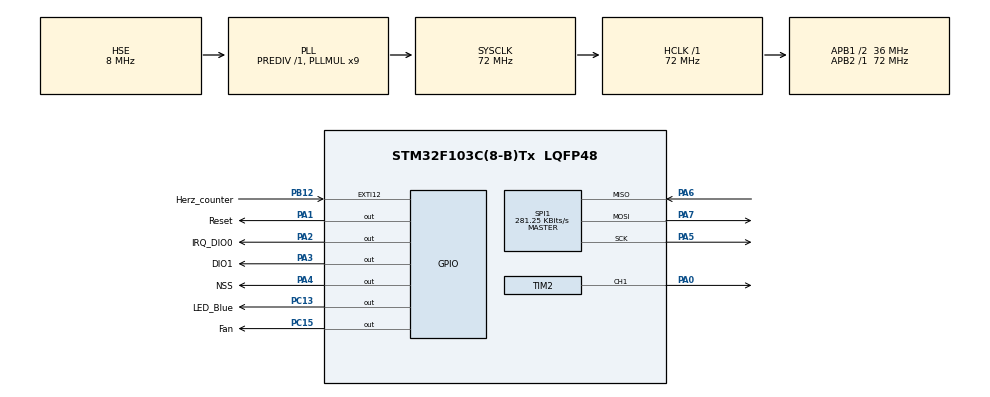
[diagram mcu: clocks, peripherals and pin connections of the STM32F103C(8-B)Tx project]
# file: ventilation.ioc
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FREERTOS.Tasks01=LoRa,1,180,StartLoRa,Default,NULL,Dynamic,NULL,NULL;Fan,0,128,StartTaskFan,Default,NULL,Dynamic,NULL,NULL;mcuWork,0,128,StartMcuWork,Default,NULL,Dynamic,NULL,NULL
Mcu.Family=STM32F1
Mcu.Name=STM32F103C(8-B)Tx
Mcu.Package=LQFP48
NVIC.EXTI15_10_IRQn=true\:5\:0\:true\:false\:true\:true\:true
NVIC.PriorityGroup=NVIC_PRIORITYGROUP_4
NVIC.SPI1_IRQn=true\:5\:0\:false\:false\:true\:true\:true
NVIC.TIM1_UP_IRQn=true\:0\:0\:false\:false\:true\:false\:false
NVIC.TIM2_IRQn=true\:5\:0\:true\:false\:true\:true\:true
NVIC.TimeBase=TIM1_UP_IRQn
NVIC.TimeBaseIP=TIM1
PA0-WKUP.Signal=S_TIM2_CH1_ETR
PA1.GPIO_Label=Reset
PA1.Signal=GPIO_Output
PA13.Mode=Serial_Wire
PA13.Signal=SYS_JTMS-SWDIO
PA14.Mode=Serial_Wire
PA14.Signal=SYS_JTCK-SWCLK
PA2.GPIO_Label=IRQ_DIO0
PA2.Signal=GPIO_Output
PA3.GPIO_Label=DIO1
PA3.Signal=GPIO_Output
PA4.GPIO_Label=NSS
PA4.Signal=GPIO_Output
PA5.Mode=Full_Duplex_Master
PA5.Signal=SPI1_SCK
PA6.Mode=Full_Duplex_Master
PA6.Signal=SPI1_MISO
PA7.Mode=Full_Duplex_Master
PA7.Signal=SPI1_MOSI
PB12.GPIO_Label=Herz_counter
PB12.GPIO_ModeDefaultEXTI=GPIO_MODE_IT_RISING_FALLING
PB12.Signal=GPXTI12
PC13-TAMPER-RTC.GPIO_Label=LED_Blue
PC13-TAMPER-RTC.Signal=GPIO_Output
PC15-OSC32_OUT.GPIO_Label=Fan
PC15-OSC32_OUT.Signal=GPIO_Output
PD0-OSC_IN.Mode=HSE-External-Oscillator
PD0-OSC_IN.Signal=RCC_OSC_IN
PD1-OSC_OUT.Mode=HSE-External-Oscillator
PD1-OSC_OUT.Signal=RCC_OSC_OUT
ProjectManager.HeapSize=0x200
ProjectManager.StackSize=0x400
ProjectManager.TargetToolchain=EWARM V7
RCC.AHBFreq_Value=72000000
RCC.APB1CLKDivider=RCC_HCLK_DIV2
RCC.APB1Freq_Value=36000000
RCC.APB1TimFreq_Value=72000000
RCC.APB2Freq_Value=72000000
RCC.APB2TimFreq_Value=72000000
RCC.HCLKFreq_Value=72000000
RCC.PLLMUL=RCC_PLL_MUL9
RCC.PLLSourceVirtual=RCC_PLLSOURCE_HSE
RCC.SYSCLKFreq_VALUE=72000000
RCC.SYSCLKSource=RCC_SYSCLKSOURCE_PLLCLK
RCC.USBFreq_Value=72000000
SH.S_TIM2_CH1_ETR.0=TIM2_CH1,PWM Generation1 CH1
SPI1.BaudRatePrescaler=SPI_BAUDRATEPRESCALER_256
SPI1.CalculateBaudRate=281.25 KBits/s
SPI1.Direction=SPI_DIRECTION_2LINES
SPI1.Mode=SPI_MODE_MASTER
SPI1.VirtualType=VM_MASTER
TIM2.Channel-PWM\ Generation1\ CH1=TIM_CHANNEL_1
VP_FREERTOS_VS_ENABLE.Mode=Enabled
VP_SYS_VS_tim1.Mode=TIM1
VP_TIM2_VS_ClockSourceINT.Mode=Internal
VP_TIM2_VS_OPM.Mode=OPM_bit
board=custom

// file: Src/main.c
/* USER CODE BEGIN Header */
/**
  ******************************************************************************
  * @file           : main.c
  * @brief          : Main program body
  ******************************************************************************
  * This notice applies to any and all portions of this file
  * that are not between comment pairs USER CODE BEGIN and
  * USER CODE END. Other portions of this file, whether
  * inserted by the user or by software development tools
  * are owned by their respective copyright owners.
  *
  * Copyright (c) 2019 STMicroelectronics International N.V.
  * All rights reserved.
  *
  * Redistribution and use in source and binary forms, with or without
  * modification, are permitted, provided that the following conditions are met:
  *
  * 1. Redistribution of source code must retain the above copyright notice,
  *    this list of conditions and the following disclaimer.
  * 2. Redistributions in binary form must reproduce the above copyright notice,
  *    this list of conditions and the following disclaimer in the documentation
  *    and/or other materials provided with the distribution.
  * 3. Neither the name of STMicroelectronics nor the names of other
  *    contributors to this software may be used to endorse or promote products
  *    derived from this software without specific written permission.
  * 4. This software, including modifications and/or derivative works of this
  *    software, must execute solely and exclusively on microcontroller or
  *    microprocessor devices manufactured by or for STMicroelectronics.
  * 5. Redistribution and use of this software other than as permitted under
  *    this license is void and will automatically terminate your rights under
  *    this license.
  *
  * THIS SOFTWARE IS PROVIDED BY STMICROELECTRONICS AND CONTRIBUTORS "AS IS"
  * AND ANY EXPRESS, IMPLIED OR STATUTORY WARRANTIES, INCLUDING, BUT NOT
  * LIMITED TO, THE IMPLIED WARRANTIES OF MERCHANTABILITY, FITNESS FOR A
  * PARTICULAR PURPOSE AND NON-INFRINGEMENT OF THIRD PARTY INTELLECTUAL PROPERTY
  * RIGHTS ARE DISCLAIMED TO THE FULLEST EXTENT PERMITTED BY LAW. IN NO EVENT
  * SHALL STMICROELECTRONICS OR CONTRIBUTORS BE LIABLE FOR ANY DIRECT, INDIRECT,
  * INCIDENTAL, SPECIAL, EXEMPLARY, OR CONSEQUENTIAL DAMAGES (INCLUDING, BUT NOT
  * LIMITED TO, PROCUREMENT OF SUBSTITUTE GOODS OR SERVICES; LOSS OF USE, DATA,
  * OR PROFITS; OR BUSINESS INTERRUPTION) HOWEVER CAUSED AND ON ANY THEORY OF
  * LIABILITY, WHETHER IN CONTRACT, STRICT LIABILITY, OR TORT (INCLUDING
  * NEGLIGENCE OR OTHERWISE) ARISING IN ANY WAY OUT OF THE USE OF THIS SOFTWARE,
  * EVEN IF ADVISED OF THE POSSIBILITY OF SUCH DAMAGE.
  *
  ******************************************************************************
  */
/* USER CODE END Header */

#include "main.h"
#include "cmsis_os.h"
#include "spi.h"
#include "tim.h"
#include "gpio.h"

void SystemClock_Config(void);
void MX_FREERTOS_Init(void);

int main(void)
{

  /* MCU Configuration--------------------------------------------------------*/

  /* Reset of all peripherals, Initializes the Flash interface and the Systick. */
  HAL_Init();

  /* Configure the system clock */
  SystemClock_Config();

  /* Initialize all configured peripherals */
  MX_GPIO_Init();
  MX_SPI1_Init();
  MX_TIM2_Init();

  /* Call init function for freertos objects (in freertos.c) */
  MX_FREERTOS_Init();

  /* Start scheduler */
  osKernelStart();

  /* We should never get here as control is now taken by the scheduler */

  /* Infinite loop */
  while (1)
  {

  }
}

void SystemClock_Config(void)
{
  RCC_OscInitTypeDef RCC_OscInitStruct = {0};
  RCC_ClkInitTypeDef RCC_ClkInitStruct = {0};

  /**Initializes the CPU, AHB and APB busses clocks
  */
  RCC_OscInitStruct.OscillatorType = RCC_OSCILLATORTYPE_HSE;
  RCC_OscInitStruct.HSEState = RCC_HSE_ON;
  RCC_OscInitStruct.HSEPredivValue = RCC_HSE_PREDIV_DIV1;
  RCC_OscInitStruct.HSIState = RCC_HSI_ON;
  RCC_OscInitStruct.PLL.PLLState = RCC_PLL_ON;
  RCC_OscInitStruct.PLL.PLLSource = RCC_PLLSOURCE_HSE;
  RCC_OscInitStruct.PLL.PLLMUL = RCC_PLL_MUL9;
  if (HAL_RCC_OscConfig(&RCC_OscInitStruct) != HAL_OK)
  {
    Error_Handler();
  }
  /**Initializes the CPU, AHB and APB busses clocks
  */
  RCC_ClkInitStruct.ClockType = RCC_CLOCKTYPE_HCLK|RCC_CLOCKTYPE_SYSCLK
                              |RCC_CLOCKTYPE_PCLK1|RCC_CLOCKTYPE_PCLK2;
  RCC_ClkInitStruct.SYSCLKSource = RCC_SYSCLKSOURCE_PLLCLK;
  RCC_ClkInitStruct.AHBCLKDivider = RCC_SYSCLK_DIV1;
  RCC_ClkInitStruct.APB1CLKDivider = RCC_HCLK_DIV2;
  RCC_ClkInitStruct.APB2CLKDivider = RCC_HCLK_DIV1;

  if (HAL_RCC_ClockConfig(&RCC_ClkInitStruct, FLASH_LATENCY_2) != HAL_OK)
  {
    Error_Handler();
  }
}

void HAL_TIM_PeriodElapsedCallback(TIM_HandleTypeDef *htim)
{
  if (htim->Instance == TIM1) {
    HAL_IncTick();
  }
}

void Error_Handler(void)
{
}

/************************ (C) COPYRIGHT STMicroelectronics *****END OF FILE****/

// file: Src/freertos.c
/* USER CODE BEGIN Header */
/**
  ******************************************************************************
  * File Name          : freertos.c
  * Description        : Code for freertos applications
  ******************************************************************************
  * This notice applies to any and all portions of this file
  * that are not between comment pairs USER CODE BEGIN and
  * USER CODE END. Other portions of this file, whether
  * inserted by the user or by software development tools
  * are owned by their respective copyright owners.
  *
  * Copyright (c) 2019 STMicroelectronics International N.V.
  * All rights reserved.
  *
  * Redistribution and use in source and binary forms, with or without
  * modification, are permitted, provided that the following conditions are met:
  *
  * 1. Redistribution of source code must retain the above copyright notice,
  *    this list of conditions and the following disclaimer.
  * 2. Redistributions in binary form must reproduce the above copyright notice,
  *    this list of conditions and the following disclaimer in the documentation
  *    and/or other materials provided with the distribution.
  * 3. Neither the name of STMicroelectronics nor the names of other
  *    contributors to this software may be used to endorse or promote products
  *    derived from this software without specific written permission.
  * 4. This software, including modifications and/or derivative works of this
  *    software, must execute solely and exclusively on microcontroller or
  *    microprocessor devices manufactured by or for STMicroelectronics.
  * 5. Redistribution and use of this software other than as permitted under
  *    this license is void and will automatically terminate your rights under
  *    this license.
  *
  * THIS SOFTWARE IS PROVIDED BY STMICROELECTRONICS AND CONTRIBUTORS "AS IS"
  * AND ANY EXPRESS, IMPLIED OR STATUTORY WARRANTIES, INCLUDING, BUT NOT
  * LIMITED TO, THE IMPLIED WARRANTIES OF MERCHANTABILITY, FITNESS FOR A
  * PARTICULAR PURPOSE AND NON-INFRINGEMENT OF THIRD PARTY INTELLECTUAL PROPERTY
  * RIGHTS ARE DISCLAIMED TO THE FULLEST EXTENT PERMITTED BY LAW. IN NO EVENT
  * SHALL STMICROELECTRONICS OR CONTRIBUTORS BE LIABLE FOR ANY DIRECT, INDIRECT,
  * INCIDENTAL, SPECIAL, EXEMPLARY, OR CONSEQUENTIAL DAMAGES (INCLUDING, BUT NOT
  * LIMITED TO, PROCUREMENT OF SUBSTITUTE GOODS OR SERVICES; LOSS OF USE, DATA,
  * OR PROFITS; OR BUSINESS INTERRUPTION) HOWEVER CAUSED AND ON ANY THEORY OF
  * LIABILITY, WHETHER IN CONTRACT, STRICT LIABILITY, OR TORT (INCLUDING
  * NEGLIGENCE OR OTHERWISE) ARISING IN ANY WAY OUT OF THE USE OF THIS SOFTWARE,
  * EVEN IF ADVISED OF THE POSSIBILITY OF SUCH DAMAGE.
  *
  ******************************************************************************
  */
/* USER CODE END Header */

#include "FreeRTOS.h"
#include "task.h"
#include "main.h"
#include "cmsis_os.h"

/* USER CODE BEGIN Includes */
#include "spi.h"
#include "gpio.h"
#include "SX1278.h"
/* USER CODE END Includes */

/* USER CODE BEGIN Variables */
#if defined DEBUG || defined RELEASE
static xQueueHandle SpeedQueue_handle = NULL;
#endif
/* USER CODE END Variables */
osThreadId LoRaHandle;
osThreadId FanHandle;
osThreadId mcuWorkHandle;

void StartLoRa(void const * argument);
void StartTaskFan(void const * argument);
void StartMcuWork(void const * argument);

void MX_FREERTOS_Init(void); /* (MISRA C 2004 rule 8.1) */

void MX_FREERTOS_Init(void) {

  /* Create the thread(s) */
  /* definition and creation of LoRa */
  osThreadDef(LoRa, StartLoRa, osPriorityAboveNormal, 0, 180);
  LoRaHandle = osThreadCreate(osThread(LoRa), NULL);

  /* definition and creation of Fan */
  osThreadDef(Fan, StartTaskFan, osPriorityNormal, 0, 128);
  FanHandle = osThreadCreate(osThread(Fan), NULL);

  /* definition and creation of mcuWork */
  osThreadDef(mcuWork, StartMcuWork, osPriorityNormal, 0, 128);
  mcuWorkHandle = osThreadCreate(osThread(mcuWork), NULL);

  /* USER CODE BEGIN RTOS_QUEUES */
#if defined DEBUG || defined RELEASE
  SpeedQueue_handle = xQueueCreate(3, sizeof(uint8_t));
#endif
  /* USER CODE END RTOS_QUEUES */
}

void StartLoRa(void const * argument)
{
/* USER CODE BEGIN StartLoRa */
  SX1278_hw_t SX1278_hw;
  SX1278_t SX1278;
  int ret;
  char buffer[24];
#if defined DEBUG || defined RELEASE
  uint8_t speed;
#endif
//  char speed0[]="Speed:0";
//  char speed1[]="Speed:1";
//  char speed2[]="Speed:2";

#if defined LORA_MASTER_DEBUG || defined LORA_MASTER_RELEASE
  int message = 0;
  int message_length;
#endif

  //initialize LoRa module
  SX1278_hw.dio0.port = IRQ_DIO0_GPIO_Port;
  SX1278_hw.dio0.pin = IRQ_DIO0_Pin;
  SX1278_hw.nss.port = NSS_GPIO_Port;
  SX1278_hw.nss.pin = NSS_Pin;
  SX1278_hw.reset.port = Reset_GPIO_Port;
  SX1278_hw.reset.pin = Reset_Pin;
  SX1278_hw.spi = &hspi1;
  SX1278.hw = &SX1278_hw;

#if defined DEBUG || defined LORA_MASTER_DEBUG
  printf("Configuring LoRa module\r\n");
#endif
  SX1278_begin(&SX1278, SX1278_433MHZ, SX1278_POWER_17DBM, SX1278_LORA_SF_8,
               SX1278_LORA_BW_20_8KHZ, 10);
#if defined DEBUG || defined LORA_MASTER_DEBUG
  printf("Done configuring LoRa module\r\n");
#endif

#if defined DEBUG || defined RELEASE
  ret = SX1278_LoRaEntryRx(&SX1278, 16, 2000);
#elif defined LORA_MASTER_DEBUG || defined LORA_MASTER_RELEASE
  ret = SX1278_LoRaEntryTx(&SX1278, 16, 2000);
#endif

  /* Infinite loop */
  for(;;)
  {
#if defined DEBUG || defined RELEASE
    osDelay(1000);
    ret = SX1278_LoRaRxPacket(&SX1278);
    //printf("R: %d\r\n", ret);
    if (ret == 7) {
      SX1278_read(&SX1278, (uint8_t *) buffer, ret);

      switch((uint8_t)buffer[6]){
      case 48:
        speed = 0;
#ifdef DEBUG
        printf("Speed:0\r\n");
#endif
        xQueueSendToBack(SpeedQueue_handle, &speed, 100/portTICK_RATE_MS);
        break;
      case 49:
        speed = 1;
#ifdef DEBUG
        printf("Speed:1\r\n");
#endif
        xQueueSendToBack(SpeedQueue_handle, &speed, 100/portTICK_RATE_MS);
        break;
      case 50:
        speed = 2;
#ifdef DEBUG
        printf("Speed:2\r\n");
#endif
        xQueueSendToBack(SpeedQueue_handle, &speed, 100/portTICK_RATE_MS);
        break;
      }

#ifdef DEBUG
        printf("RECV (%d): %s\r\n", ret, buffer);
#endif
    }
#endif

#if defined LORA_MASTER_DEBUG || defined LORA_MASTER_RELEASE
    message_length = sprintf(buffer, "Speed:%d", message);
    ret = SX1278_LoRaEntryTx(&SX1278, message_length, 2000);

  #ifdef LORA_MASTER_DEBUG
      printf("SX1278_LoRaEntryTx ret = (%d)\r\n", ret);
  #endif

    ret = SX1278_LoRaTxPacket(&SX1278, (uint8_t *) buffer, message_length,
                                             2000);

  #ifdef LORA_MASTER_DEBUG
      printf("SX1278_LoRaTxPacket ret = (%d)\r\n", ret);
  #endif

    osDelay(5000);

    switch(message){
    case 0:
      message += 1;
      break;
    case 1:
      message += 1;
      break;
    case 2:
      message = 0;
      break;
    }
#endif
}
}

void StartTaskFan(void const * argument)
{
  /* USER CODE BEGIN StartTaskFan */
	uint8_t speed = 0; // 1, 2
	/* Measured pulse delay (in us) */
	__IO uint32_t uwMeasuredDelay;

	/* Measured pulse length (in us) */
	__IO uint32_t uwMeasuredPulseLength;
  /* Infinite loop */
  for(;;)
  {

    xQueueReceive(SpeedQueue_handle, &speed, 0);
    switch(speed){
    case 0:
	  //uwMeasuredDelay = 8000;
      //LL_TIM_OC_SetCompareCH1(TIM2, __LL_TIM_CALC_DELAY(SystemCoreClock, LL_TIM_GetPrescaler(TIM2), uwMeasuredDelay));
      //LL_TIM_SetAutoReload(TIM2, __LL_TIM_CALC_PULSE(SystemCoreClock, LL_TIM_GetPrescaler(TIM2), uwMeasuredDelay, 50)); // REG 2800 MAX speed - 5800 min speed
	  //LL_TIM_DisableCounter(TIM2); // Stop FAN
      HAL_NVIC_DisableIRQ(EXTI15_10_IRQn);
      break;
    case 1:
      HAL_NVIC_EnableIRQ(EXTI15_10_IRQn);
      uwMeasuredDelay = 2800;
      LL_TIM_OC_SetCompareCH1(TIM2, __LL_TIM_CALC_DELAY(SystemCoreClock, LL_TIM_GetPrescaler(TIM2), uwMeasuredDelay));
      LL_TIM_SetAutoReload(TIM2, __LL_TIM_CALC_PULSE(SystemCoreClock, LL_TIM_GetPrescaler(TIM2), uwMeasuredDelay, 50)); // REG 2800 MAX speed - 5800 min speed
      break;
    case 2:
      HAL_NVIC_EnableIRQ(EXTI15_10_IRQn);
      uwMeasuredDelay = 4800;
      LL_TIM_OC_SetCompareCH1(TIM2, __LL_TIM_CALC_DELAY(SystemCoreClock, LL_TIM_GetPrescaler(TIM2), uwMeasuredDelay));
      LL_TIM_SetAutoReload(TIM2, __LL_TIM_CALC_PULSE(SystemCoreClock, LL_TIM_GetPrescaler(TIM2), uwMeasuredDelay, 50)); // REG 2800 MAX speed - 5800 min speed
      break;

	/*
    for(uwMeasuredDelay = 2800; uwMeasuredDelay < 5800; uwMeasuredDelay++)
        {

            LL_TIM_OC_SetCompareCH1(TIM2, __LL_TIM_CALC_DELAY(SystemCoreClock, LL_TIM_GetPrescaler(TIM2), uwMeasuredDelay));

            LL_TIM_SetAutoReload(TIM2, __LL_TIM_CALC_PULSE(SystemCoreClock, LL_TIM_GetPrescaler(TIM2), uwMeasuredDelay, 50)); // REG 2800 MAX speed - 5800 min speed
            HAL_Delay(5);
        }
		*/
  }
  /* USER CODE END StartTaskFan */
}
}

void StartMcuWork(void const * argument)
{
  /* USER CODE BEGIN StartMcuWork */
  /* Infinite loop */
  for(;;)
  {
    HAL_GPIO_WritePin(GPIOC, LED_Blue_Pin, GPIO_PIN_RESET);
    osDelay(1000);
    HAL_GPIO_WritePin(GPIOC, LED_Blue_Pin, GPIO_PIN_SET);
    osDelay(1000);
  }
  /* USER CODE END StartMcuWork */
}

/************************ (C) COPYRIGHT STMicroelectronics *****END OF FILE****/
